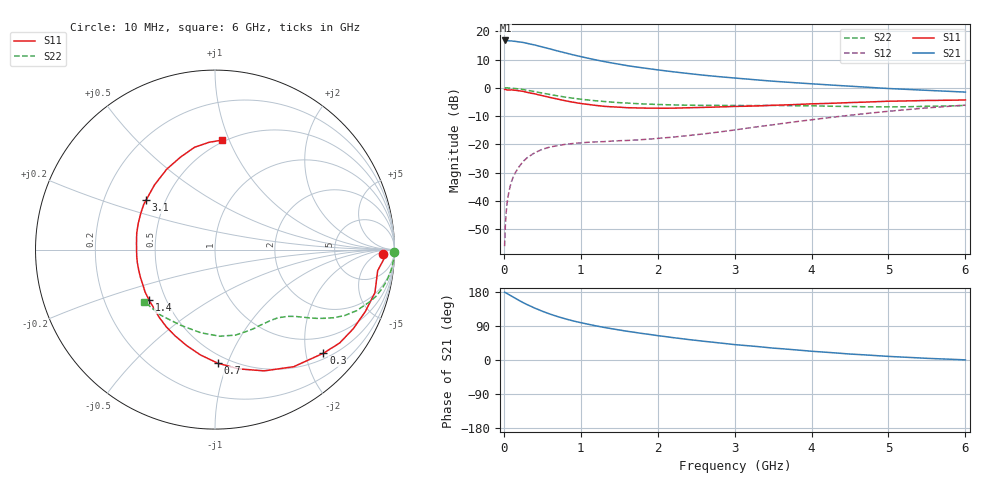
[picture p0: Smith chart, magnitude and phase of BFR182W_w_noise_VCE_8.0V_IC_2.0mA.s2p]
! (c) 2017  Infineon Technologies AG, Munich
! Infineon Technologies  Discrete & RF Semiconductors
! BFR182W
! VCE =  8.0 V,  IC =  2.0 mA
! Common Emitter S-Parameters:  Jan 2017
# GHz  S  MA  R  50
!  f  S11  S21  S12  S22
! GHz  MAG  ANG  MAG  ANG  MAG  ANG  MAG  ANG
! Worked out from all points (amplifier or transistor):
!   77 points, 10 MHz to 6 GHz, reference 50 ohm
!   highest |S21| = 16.7 dB at 20 MHz (marker M1)
!   |S21| within 3 dB of that: start of sweep to 601.7 MHz
!   unconditionally stable (mu >= 1): 1.771 GHz to 3.108 GHz
!   at 130 MHz: K = 0.09, MSG = 23.8 dB, |S12| = -31.1 dB
!   at 2.2 GHz: K = 1.08, MAG = 9.8 dB, |S12| = -17.4 dB
!   at 6 GHz: K = 0.82, MSG = 2.3 dB, |S12| = -6.1 dB
!   lowest NFmin = 0.85 dB at 450 MHz
!   S11 on the Smith chart (normalised r, x): 10 MHz: 25, -10; 300 MHz: 0.62, -2.36; 700 MHz: 0.44, -0.92; 1.4 GHz: 0.40, -0.29; 3.1 GHz: 0.39, +0.28; 6 GHz: 0.49, +0.95
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0.01  0.9337 -1.6  6.819 178.8  0.0016 82.8  1 -0.7
0.02  0.9432 -3.1  6.876 177.9  0.0038 90.4  1 -1.6
0.03  0.9329 -4.5  6.854 176.7  0.0062 86.3  1 -2.2
0.05  0.9139 -7.4  6.818 174.4  0.011 83.5  0.9959 -3.5
0.1  0.9228 -15.1  6.739 168.6  0.0222 81.3  0.9873 -6.9
0.2  0.8877 -29.8  6.477 157.0  0.0408 73.4  0.9553 -13.2
0.25  0.8677 -36.9  6.345 151.5  0.0501 69.2  0.9348 -16.1
0.3  0.8355 -43.7  6.129 146.4  0.0578 65.2  0.9091 -18.7
0.4  0.7861 -56.1  5.731 137.0  0.0712 59.6  0.8598 -23.3
0.5  0.7292 -67.9  5.281 128.7  0.0822 54.1  0.8098 -27.0
0.6  0.6775 -78.8  4.875 121.2  0.0902 50.1  0.7632 -29.8
0.7  0.633 -88.6  4.48 114.5  0.0955 47.3  0.7222 -32.0
0.9  0.5575 -106.5  3.832 103.2  0.1041 43.2  0.657 -35.5
1.1  0.5092 -122.1  3.327 94.2  0.1096 41.6  0.6101 -38.0
1.4  0.4629 -142.4  2.759 82.6  0.1145 41.7  0.5604 -41.6
1.7  0.4431 -160.0  2.361 73.0  0.1196 44.4  0.5293 -45.4
2.1  0.4368 -179.7  1.999 61.8  0.1315 49.3  0.5044 -51.1
2.6  0.4524 160.7  1.672 49.4  0.1539 55.5  0.4906 -59.8
3.1  0.4725 144.5  1.454 38.9  0.1888 59.0  0.4882 -68.8
4.1  0.5265 118.8  1.157 21.7  0.2841 58.3  0.4788 -89.4
5.1  0.5839 99.6  0.96 8.5  0.397 49.7  0.4627 -117.7
6  0.6115 86.1  0.842 0.3  0.4954 39.1  0.4896 -143.6
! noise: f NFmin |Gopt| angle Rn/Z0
0.45  0.85  0.5  30  0.26
0.9  0.99  0.4  58  0.24
1.9  1.74  0.3  142  0.14
2.4  2.11  0.26  164  0.19
